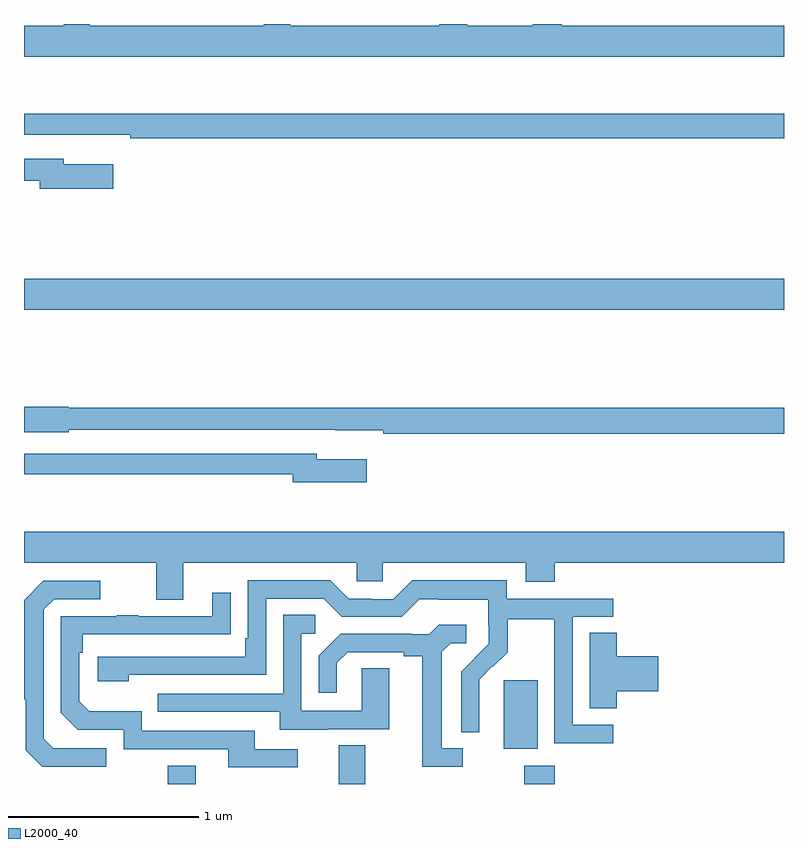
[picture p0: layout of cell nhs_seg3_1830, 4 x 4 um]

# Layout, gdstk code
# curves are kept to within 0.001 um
import gdstk
lib = gdstk.Library(unit=1e-6, precision=1e-09)
def R(c, l, rs):  # rectangles x0, y0, x1, y1
    for r in rs: c.add(gdstk.rectangle(r[:2], r[2:], *l))
def P(c, l, *ps):  # polygons
    for p in ps: c.add(gdstk.Polygon(p, *l))
L2000_40 = (2000, 40)

nhs_seg3_1830 = lib.new_cell('nhs_seg3_1830')
R(nhs_seg3_1830, L2000_40, [(205.756,718.4,205.903,718.495), (206.657,718.4,206.797,718.604), (207.634,718.4,207.794,718.495), (207.524,718.586,207.703,718.947), (205,720.896,209,721.06)])
P(nhs_seg3_1830, L2000_40, [(209,722.392),(207.83,722.392),(207.83,722.4),(207.677,722.4),(207.677,722.392),(207.333,722.392),(207.333,722.4),(207.185,722.4),(207.185,722.392),(206.401,722.392),(206.401,722.4),(206.261,722.4),(206.261,722.392),(205.347,722.392),(205.347,722.4),(205.209,722.4),(205.209,722.392),(205,722.392),(205,722.228),(209,722.228)],
  [(209,721.927),(205,721.927),(205,721.818),(205.306,721.818),(205.306,721.817),(205.558,721.817),(205.558,721.798),(209,721.798)],
  [(205.471,721.663),(205.21,721.663),(205.21,721.692),(205,721.692),(205,721.576),(205.082,721.576),(205.082,721.534),(205.471,721.534)],
  [(209,720.38),(205.236,720.38),(205.236,720.386),(205,720.386),(205,720.251),(205.236,720.251),(205.236,720.264),(206.638,720.264),(206.638,720.263),(206.89,720.263),(206.89,720.244),(209,720.244)],
  [(206.803,720.109),(206.542,720.109),(206.542,720.138),(205,720.138),(205,720.03),(206.414,720.03),(206.414,719.987),(206.803,719.987)],
  [(205.837,719.564),(206.751,719.564),(206.751,719.466),(206.889,719.466),(206.889,719.564),(207.641,719.564),(207.641,719.465),(207.794,719.465),(207.794,719.564),(209,719.564),(209,719.728),(205,719.728),(205,719.564),(205.697,719.564),(205.697,719.37),(205.837,719.37)],
  [(208.102,718.713),(207.888,718.713),(207.888,719.28),(208.102,719.28),(208.102,719.376),(207.54,719.376),(207.54,719.473),(207.043,719.473),(206.943,719.373),(206.828,719.373),(206.828,719.376),(206.709,719.376),(206.613,719.472),(206.178,719.472),(206.178,719.167),(206.165,719.167),(206.165,719.07),(205.389,719.07),(205.389,718.94),(205.55,718.94),(205.55,718.974),(206.274,718.974),(206.274,719.376),(206.577,719.376),(206.673,719.28),(206.988,719.28),(207.081,719.373),(207.181,719.373),(207.181,719.369),(207.444,719.369),(207.444,719.235),(207.446,719.235),(207.446,719.138),(207.3,718.99),(207.3,718.672),(207.396,718.672),(207.395,718.949),(207.465,719.019),(207.468,719.016),(207.545,719.093),(207.545,719.268),(207.79,719.268),(207.79,719.044),(207.792,719.044),(207.792,718.615),(208.102,718.615)],
  [(205.432,718.587),(205.155,718.587),(205.104,718.638),(205.104,719.319),(205.158,719.373),(205.402,719.373),(205.402,719.469),(205.101,719.469),(205,719.367),(205,718.847),(205.008,718.847),(205.008,718.578),(205.095,718.491),(205.432,718.491)],
  [(206.44,718.584),(206.215,718.584),(206.215,718.68),(205.62,718.68),(205.62,718.783),(205.343,718.783),(205.29,718.836),(205.29,719.09),(205.31,719.09),(205.31,719.187),(206.087,719.188),(206.087,719.407),(205.991,719.407),(205.991,719.283),(205.601,719.283),(205.601,719.288),(205.489,719.288),(205.489,719.283),(205.194,719.283),(205.194,718.776),(205.284,718.686),(205.524,718.686),(205.524,718.584),(206.075,718.584),(206.075,718.488),(206.44,718.488)],
  [(206.599,718.689),(206.923,718.689),(206.923,719.009),(206.778,719.009),(206.778,718.785),(206.46,718.785),(206.46,719.19),(206.533,719.19),(206.533,719.291),(206.364,719.291),(206.364,718.875),(205.705,718.875),(205.705,718.779),(206.345,718.779),(206.345,718.685),(206.599,718.685)],
  [(207.31,718.587),(207.199,718.587),(207.199,719.095),(207.246,719.142),(207.328,719.142),(207.328,719.239),(207.184,719.239),(207.132,719.187),(207.038,719.187),(207.038,719.19),(206.666,719.19),(206.55,719.074),(206.55,718.881),(206.647,718.881),(206.647,719.037),(206.704,719.094),(206.999,719.094),(206.999,719.072),(207.095,719.072),(207.095,718.491),(207.31,718.491)],
  [(208.121,718.889),(208.339,718.889),(208.339,719.072),(208.121,719.072),(208.121,719.195),(207.977,719.195),(207.977,718.798),(208.121,718.798)])

lib.write_gds('nhs_seg3_1830.gds')
